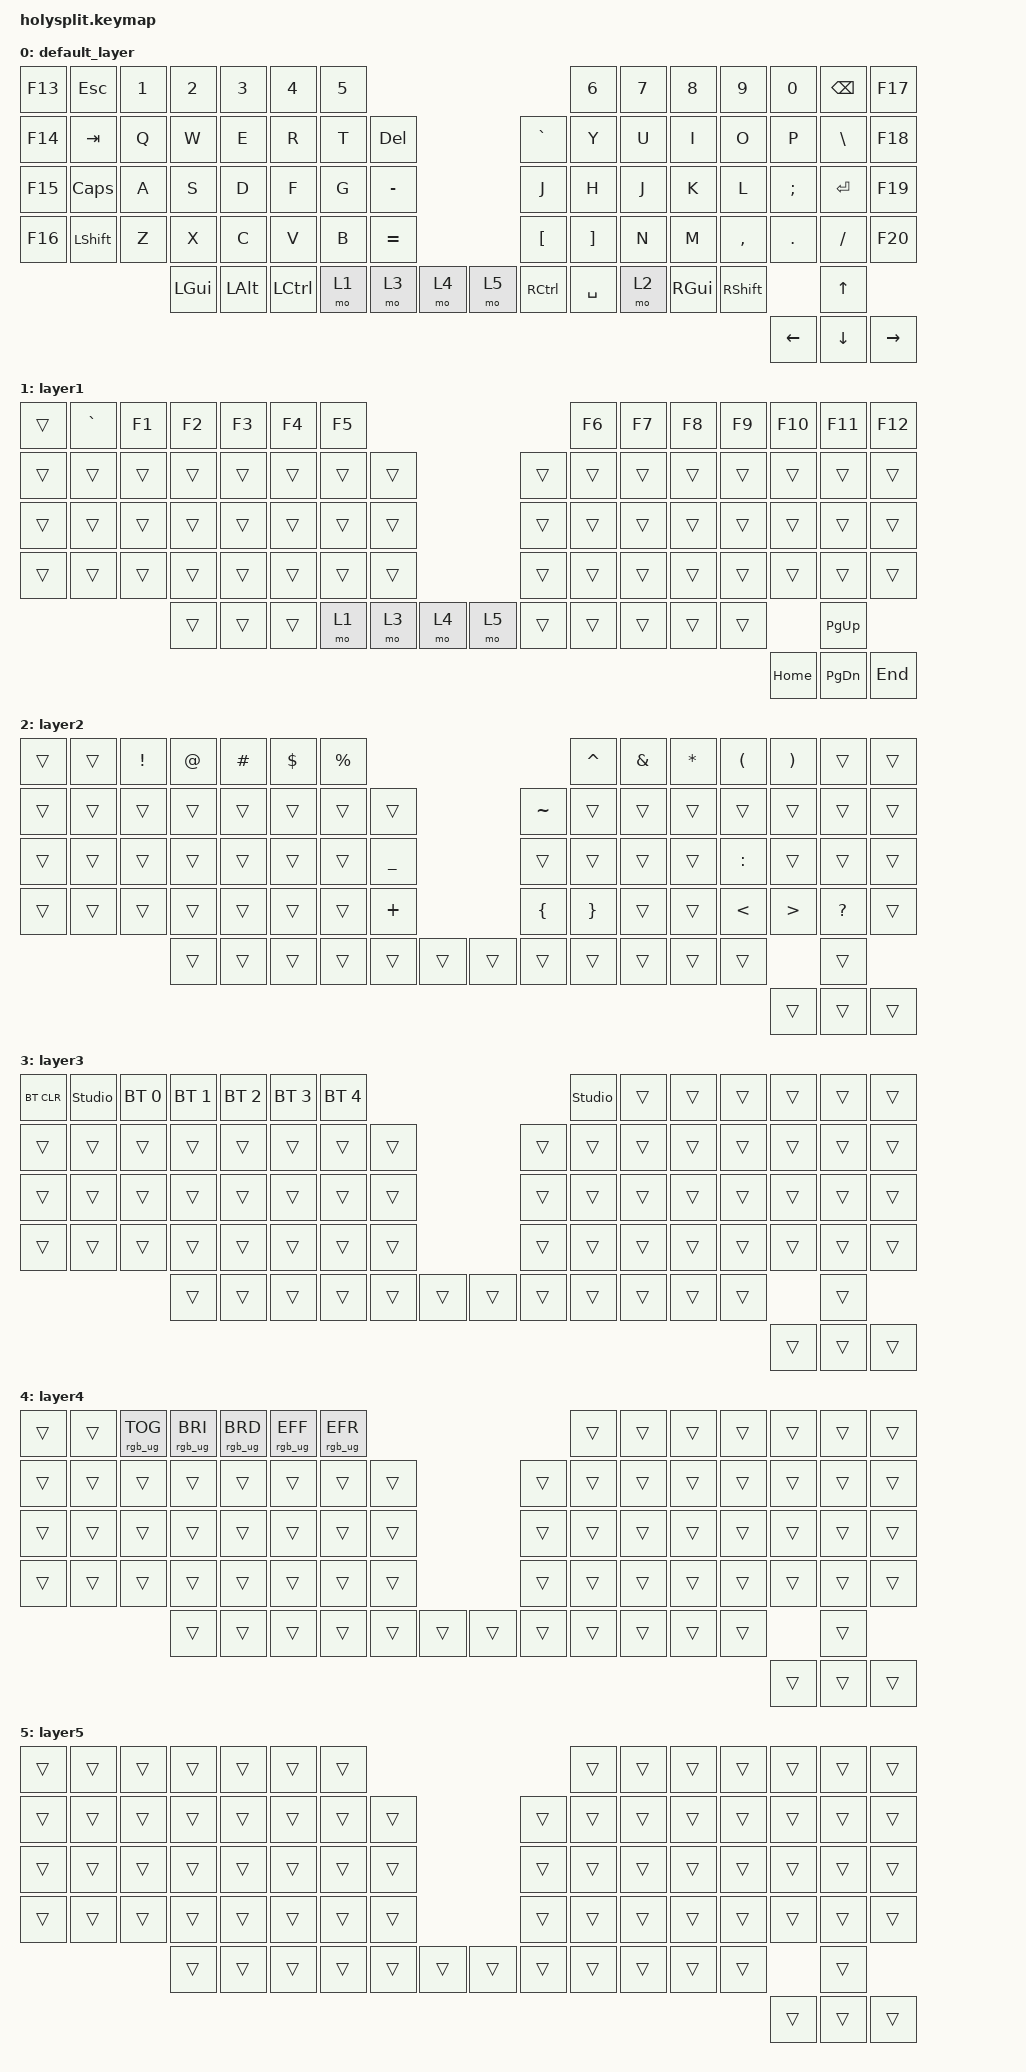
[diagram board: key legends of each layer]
/*
 * HolySplit Keyboard Keymap
 * Split ergonomic keyboard with nRF52840_holyiot_18010
 */

#include <behaviors.dtsi>
#include <dt-bindings/zmk/keys.h>
#include <dt-bindings/zmk/bt.h>
#include <dt-bindings/zmk/rgb.h>

/ {
    keymap {
        compatible = "zmk,keymap";

        default_layer {
            bindings = <
                // Row 0 (Top number row)
                &kp F13    &kp ESC    &kp N1     &kp N2     &kp N3     &kp N4     &kp N5                                                             &kp N6     &kp N7     &kp N8     &kp N9     &kp N0     &kp BSPC   &kp F17        

                &kp F14    &kp TAB    &kp Q      &kp W      &kp E      &kp R      &kp T      &kp DEL                                      &kp GRAVE  &kp Y      &kp U      &kp I      &kp O      &kp P      &kp BSLH   &kp F18
                
                &kp F15    &kp CAPS   &kp A      &kp S      &kp D      &kp F      &kp G      &kp MINUS                                    &kp J      &kp H      &kp J      &kp K      &kp L      &kp SEMI   &kp RET    &kp F19
                
                &kp F16    &kp LSHFT  &kp Z      &kp X      &kp C      &kp V      &kp B      &kp EQUAL                                    &kp LBKT   &kp RBKT   &kp N      &kp M      &kp COMMA  &kp DOT    &kp FSLH   &kp F20
                
                                                 &kp LGUI   &kp LALT   &kp LCTRL  &mo 1      &mo 3        &mo 4         &mo 5             &kp RCTRL  &kp SPACE  &mo 2      &kp RGUI   &kp RSHFT             &kp UP                
                                                                                                                              
                                                                                                                                                                                                 &kp LEFT   &kp DOWN   &kp RIGHT
                
            >;
        };
        layer1 {
            bindings = <
                // Function keys and numbers
                &trans     &kp GRAVE  &kp F1     &kp F2     &kp F3     &kp F4     &kp F5                                                             &kp F6     &kp F7     &kp F8     &kp F9     &kp F10    &kp F11    &kp F12         

                &trans     &trans     &trans     &trans     &trans     &trans     &trans     &trans                                       &trans     &trans     &trans     &trans     &trans     &trans     &trans     &trans                  
                &trans     &trans     &trans     &trans     &trans     &trans     &trans     &trans                                       &trans     &trans     &trans     &trans     &trans     &trans     &trans     &trans                  
                &trans     &trans     &trans     &trans     &trans     &trans     &trans     &trans                                       &trans     &trans     &trans     &trans     &trans     &trans     &trans     &trans                  
                                                 &trans     &trans     &trans     &mo 1      &mo 3        &mo 4         &mo 5             &trans     &trans     &trans      &trans     &trans                &kp PG_UP                
                                                                                                                              
                                                                                                                                                                                                 &kp HOME   &kp PG_DN  &kp END   
                
            >;
        };

        layer2 {
            bindings = <
                // Symbols and special characters
                &trans     &trans     &kp EXCL   &kp AT     &kp HASH   &kp DLLR   &kp PRCNT                                              &kp CARET  &kp AMPS   &kp ASTRK  &kp LPAR   &kp RPAR   &trans     &trans         

                &trans     &trans     &trans     &trans     &trans     &trans     &trans     &trans                           &kp TILDE  &trans     &trans     &trans     &trans     &trans     &trans     &trans                  
                &trans     &trans     &trans     &trans     &trans     &trans     &trans     &kp UNDER                        &trans     &trans     &trans     &trans     &kp COLON  &trans     &trans     &trans                  
                &trans     &trans     &trans     &trans     &trans     &trans     &trans     &kp PLUS                         &kp LBRC   &kp RBRC   &trans     &trans     &kp LT     &kp GT     &kp QMARK     &trans                 
                                                 &trans     &trans     &trans     &trans     &trans     &trans     &trans     &trans     &trans     &trans     &trans     &trans                &trans                
                                                                                                                              
                                                                                                                                                                                     &trans     &trans     &trans   
                
            >;
        };

        layer3 {
            bindings = <
                // Bluetooth and system controls
                &bt BT_CLR  &studio_unlock   &bt BT_SEL 0     &bt BT_SEL 1    &bt BT_SEL 2    &bt BT_SEL 3     &bt BT_SEL 4                                                 &studio_unlock     &trans     &trans     &trans     &trans     &trans     &trans         

                &trans      &trans           &trans           &trans          &trans          &trans           &trans           &trans                           &trans     &trans             &trans     &trans     &trans     &trans     &trans     &trans                  
                &trans      &trans           &trans           &trans          &trans           &trans          &trans           &trans                           &trans     &trans             &trans     &trans     &trans     &trans     &trans     &trans                  
                &trans      &trans           &trans           &trans          &trans          &trans           &trans           &trans                           &trans     &trans             &trans     &trans     &trans     &trans     &trans     &trans                 
                                                              &trans          &trans          &trans           &trans           &trans     &trans     &trans     &trans     &trans             &trans      &trans     &trans               &trans                
                                                                                                                              
                                                                                                                                                                                                                                &trans     &trans     &trans   
                
            >;
        };

        layer4 {
            bindings = <
                // RGB controls
                &trans     &trans     &rgb_ug RGB_TOG     &rgb_ug RGB_BRI     &rgb_ug RGB_BRD    &rgb_ug RGB_EFF     &rgb_ug RGB_EFR                                                 &trans     &trans     &trans     &trans     &trans     &trans     &trans         

                &trans     &trans     &trans              &trans              &trans             &trans              &trans              &trans                           &trans     &trans     &trans     &trans     &trans     &trans     &trans     &trans                  
                &trans     &trans     &trans              &trans              &trans             &trans              &trans              &trans                           &trans     &trans     &trans     &trans     &trans     &trans     &trans     &trans                  
                &trans     &trans     &trans              &trans              &trans             &trans              &trans              &trans                           &trans     &trans     &trans     &trans     &trans     &trans     &trans     &trans                 
                                                          &trans              &trans             &trans              &trans              &trans     &trans     &trans     &trans     &trans     &trans      &trans     &trans                &trans                
                                                                                                                              
                                                                                                                                                                                     &trans     &trans     &trans   
                
            >;
        };

        layer5 {
            bindings = <
                // Additional layer for customization
                &trans     &trans     &trans     &trans     &trans     &trans     &trans                                                 &trans     &trans     &trans     &trans     &trans     &trans     &trans         

                &trans     &trans     &trans     &trans     &trans     &trans     &trans     &trans                           &trans     &trans     &trans     &trans     &trans     &trans     &trans     &trans                  
                &trans     &trans     &trans     &trans     &trans     &trans     &trans     &trans                           &trans     &trans     &trans     &trans     &trans     &trans     &trans     &trans                  
                &trans     &trans     &trans     &trans     &trans     &trans     &trans     &trans                           &trans     &trans     &trans     &trans     &trans     &trans     &trans     &trans                 
                                                 &trans     &trans     &trans     &trans     &trans     &trans     &trans     &trans     &trans     &trans      &trans     &trans                &trans                
                                                                                                                              
                                                                                                                                                                                     &trans     &trans     &trans   
                
            >;
        };        
    };
};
